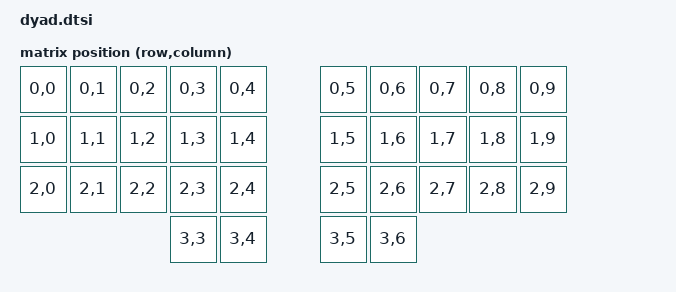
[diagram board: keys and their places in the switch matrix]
#include <dt-bindings/zmk/matrix_transform.h>

/ {
    chosen {
        zmk,kscan = &kscan0;
        zmk,matrix_transform = &default_transform;
        zmk,battery = &xiao_battery_voltage_divider;
    };

    default_transform: keymap_transform_0 {
        compatible = "zmk,matrix-transform";
        columns = <10>;
        rows = <4>;

        map = <

        RC(0,0) RC(0,1) RC(0,2) RC(0,3) RC(0,4)                 RC(0,5) RC(0,6) RC(0,7) RC(0,8) RC(0,9)
        RC(1,0) RC(1,1) RC(1,2) RC(1,3) RC(1,4)                 RC(1,5) RC(1,6) RC(1,7) RC(1,8) RC(1,9)
        RC(2,0) RC(2,1) RC(2,2) RC(2,3) RC(2,4)                 RC(2,5) RC(2,6) RC(2,7) RC(2,8) RC(2,9)
                                RC(3,3) RC(3,4)                 RC(3,5) RC(3,6)

        >;
    };

    xiao_battery_voltage_divider: vbatt {
      	status = "okay";
      	compatible = "zmk,battery-voltage-divider";
      	label = "XIAO voltage divider";
      	io-channels = <&adc 7>;
      	output-ohms = <470000>;
      	full-ohms =  <1470000>;
      	power-gpios = <&gpio0 14 (GPIO_ACTIVE_LOW)>;
    };
};
